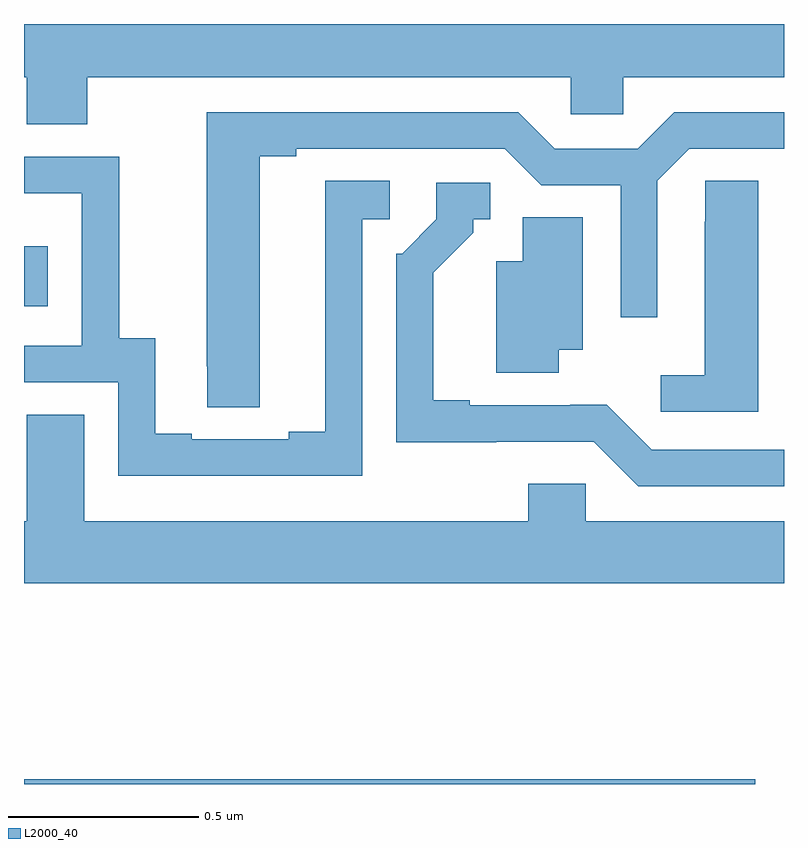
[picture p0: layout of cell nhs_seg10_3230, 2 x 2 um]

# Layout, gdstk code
import gdstk
lib = gdstk.Library(unit=1e-6, precision=1e-09)
def R(c, l, rs):  # rectangles x0, y0, x1, y1
    for r in rs: c.add(gdstk.rectangle(r[:2], r[2:], *l))
def P(c, l, *ps):  # polygons
    for p in ps: c.add(gdstk.Polygon(p, *l))
L2000_40 = (2000, 40)

nhs_seg10_3230 = lib.new_cell('nhs_seg10_3230')
R(nhs_seg10_3230, L2000_40, [(151,1254.5,152.924,1254.512), (151,1255.757,151.063,1255.915)])
P(nhs_seg10_3230, L2000_40, [(151.167,1256.36),(152.439,1256.36),(152.439,1256.262),(152.577,1256.262),(152.577,1256.36),(153,1256.36),(153,1256.5),(151,1256.5),(151,1256.36),(151.007,1256.36),(151.007,1256.236),(151.167,1256.236)],
  [(151.621,1256.152),(151.717,1256.152),(151.717,1256.172),(152.265,1256.172),(152.361,1256.076),(152.571,1256.076),(152.571,1255.728),(152.667,1255.728),(152.667,1256.088),(152.751,1256.172),(153,1256.172),(153,1256.268),(152.711,1256.268),(152.615,1256.172),(152.397,1256.172),(152.301,1256.268),(151.481,1256.268),(151.481,1255.6),(151.482,1255.6),(151.482,1255.492),(151.621,1255.492)],
  [(151.89,1255.986),(151.963,1255.986),(151.963,1256.087),(151.793,1256.087),(151.793,1255.427),(151.697,1255.427),(151.697,1255.407),(151.441,1255.407),(151.441,1255.422),(151.345,1255.422),(151.345,1255.673),(151.251,1255.673),(151.251,1256.151),(151,1256.151),(151,1256.055),(151.151,1256.055),(151.151,1256.054),(151.152,1256.054),(151.152,1255.653),(151,1255.653),(151,1255.557),(151.248,1255.557),(151.248,1255.311),(151.89,1255.311)],
  [(152.932,1256.087),(152.793,1256.087),(152.793,1255.979),(152.792,1255.979),(152.792,1255.576),(152.676,1255.576),(152.676,1255.479),(152.932,1255.479)],
  [(153,1255.38),(152.652,1255.38),(152.534,1255.498),(152.438,1255.498),(152.438,1255.497),(152.173,1255.497),(152.173,1255.51),(152.077,1255.51),(152.077,1255.846),(152.182,1255.951),(152.182,1255.986),(152.227,1255.986),(152.227,1256.082),(152.085,1256.082),(152.085,1255.986),(151.995,1255.896),(151.98,1255.896),(151.98,1255.4),(152.243,1255.4),(152.243,1255.401),(152.499,1255.401),(152.616,1255.284),(153,1255.284)],
  [(152.407,1255.643),(152.47,1255.643),(152.47,1255.991),(152.312,1255.991),(152.312,1255.876),(152.243,1255.876),(152.243,1255.582),(152.407,1255.582)],
  [(153,1255.192),(152.478,1255.192),(152.478,1255.29),(152.327,1255.29),(152.327,1255.192),(151.159,1255.192),(151.159,1255.472),(151.007,1255.472),(151.007,1255.192),(151,1255.192),(151,1255.028),(153,1255.028)])

lib.write_gds('nhs_seg10_3230.gds')
